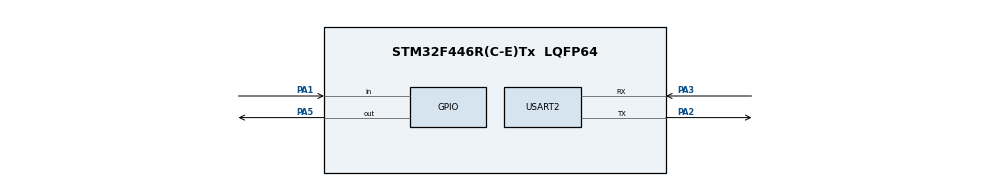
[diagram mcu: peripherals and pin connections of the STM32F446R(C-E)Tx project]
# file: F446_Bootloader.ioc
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Mcu.Family=STM32F4
Mcu.Name=STM32F446R(C-E)Tx
Mcu.Package=LQFP64
NVIC.PriorityGroup=NVIC_PRIORITYGROUP_4
PA1.GPIO_PuPd=GPIO_PULLUP
PA1.Signal=GPIO_Input
PA2.Mode=Asynchronous
PA2.Signal=USART2_TX
PA3.Mode=Asynchronous
PA3.Signal=USART2_RX
PA5.Signal=GPIO_Output
ProjectManager.HeapSize=0x200
ProjectManager.StackSize=0x400
ProjectManager.TargetToolchain=STM32CubeIDE
RCC.CortexFreq_Value=16000000
RCC.USBFreq_Value=96000000
RCC.VCOOutputFreq_Value=192000000
USART2.VirtualMode=VM_ASYNC
board=custom

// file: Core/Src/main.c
/* USER CODE BEGIN Header */
/**
  ******************************************************************************
  * @file           : main.c
  * @brief          : Main program body
  ******************************************************************************
  * @attention
  *
  * Copyright (c) 2025 STMicroelectronics.
  * All rights reserved.
  *
  * This software is licensed under terms that can be found in the LICENSE file
  * in the root directory of this software component.
  * If no LICENSE file comes with this software, it is provided AS-IS.
  *
  ******************************************************************************
  */
/* USER CODE END Header */
#include "main.h"

/* USER CODE BEGIN Includes */
#include "bl_jump.h"
#include <string.h>
#include "bl_ota.h"
#include "ota_image.h"
/* USER CODE END Includes */

UART_HandleTypeDef huart2;

void SystemClock_Config(void);
static void MX_GPIO_Init(void);
static void MX_USART2_UART_Init(void);

/* USER CODE BEGIN 0 */

static uint32_t mem_base = 0;  // used with external or dual flash
static uint32_t mem_cursor = 0;
static uint32_t ota_image_total_size = 16;  // expected OTA Header size

void ota_mem_set_total_size(uint32_t size)
{
    ota_image_total_size = size;
}

int ota_read_mem(uint8_t *buf, uint32_t len)
{
    if (mem_cursor + len > ota_image_total_size)
        return -1;

    memcpy(buf, &ota_image_bin[mem_base + mem_cursor], len);  // this function should be replaced accordingly

    mem_cursor += len;
    return 0;
}

/* USER CODE END 0 */

int main(void)
{

  /* MCU Configuration--------------------------------------------------------*/

  /* Reset of all peripherals, Initializes the Flash interface and the Systick. */
  HAL_Init();

  /* Configure the system clock */
  SystemClock_Config();

  /* Initialize all configured peripherals */
  MX_GPIO_Init();
  MX_USART2_UART_Init();
  /* USER CODE BEGIN 2 */

  HAL_Delay(100);

  HAL_UART_Transmit(&huart2, (uint8_t *)"Inside Bootloader!!\r\n", 21, 100);

  if (check_ota_request() == 0)
  {
	  HAL_UART_Transmit(&huart2, (uint8_t *)"Performing OTA...\n", 18, 100);

	  ota_stream_t stream =
	  {
	      .read = ota_read_mem,
	      .set_total_size = ota_mem_set_total_size
	  };

	  bl_ota_ctx_t ctx;
	 if (bl_ota_run(&ctx, &stream) != 0)
	 {
		 HAL_UART_Transmit(&huart2, (uint8_t *)"OTA Failed...\n", 14, 100);
		  while (1)
		  {
			  HAL_GPIO_TogglePin(GPIOA, GPIO_PIN_5);
			  HAL_Delay(250);
		  }
	 }
	 else {
		 HAL_UART_Transmit(&huart2, (uint8_t *)"OTA Flashed Successfully, Jumping to app...\n", 44, 100);
	 }

  }
  int err = bootloader_is_app_valid();
  if (err != 0)
  {
	  HAL_UART_Transmit(&huart2, (uint8_t *)"Failed to Jump!! ", 17, 100);
	  switch (err){
	  case 1:
		  HAL_UART_Transmit(&huart2, (uint8_t *)"MAGIC ERROR!!\r\n", 15, 100);
		  break;

	  case 2:
		  HAL_UART_Transmit(&huart2, (uint8_t *)"RESET ERROR!!\r\n", 15, 100);
		  break;

	  case 3:
		  HAL_UART_Transmit(&huart2, (uint8_t *)"SIZE ERROR!!\r\n", 14, 100);
		  break;

	  case 4:
		  HAL_UART_Transmit(&huart2, (uint8_t *)"CRC ERROR!!\r\n", 13, 100);
		  break;

	  default:
		  HAL_UART_Transmit(&huart2, (uint8_t *)"ERROR!!\r\n", 9, 100);
		  break;
	  }

	  while (1)
	  {
		  HAL_GPIO_TogglePin(GPIOA, GPIO_PIN_5);
		  HAL_Delay(100);
	  }
  }

  JumpToApplication();

  /* USER CODE END 2 */

  /* Infinite loop */
  while (1)
  {

  }
}

void SystemClock_Config(void)
{
  RCC_OscInitTypeDef RCC_OscInitStruct = {0};
  RCC_ClkInitTypeDef RCC_ClkInitStruct = {0};

  /** Configure the main internal regulator output voltage
  */
  __HAL_RCC_PWR_CLK_ENABLE();
  __HAL_PWR_VOLTAGESCALING_CONFIG(PWR_REGULATOR_VOLTAGE_SCALE3);

  /** Initializes the RCC Oscillators according to the specified parameters
  * in the RCC_OscInitTypeDef structure.
  */
  RCC_OscInitStruct.OscillatorType = RCC_OSCILLATORTYPE_HSI;
  RCC_OscInitStruct.HSIState = RCC_HSI_ON;
  RCC_OscInitStruct.HSICalibrationValue = RCC_HSICALIBRATION_DEFAULT;
  RCC_OscInitStruct.PLL.PLLState = RCC_PLL_NONE;
  if (HAL_RCC_OscConfig(&RCC_OscInitStruct) != HAL_OK)
  {
    Error_Handler();
  }

  /** Initializes the CPU, AHB and APB buses clocks
  */
  RCC_ClkInitStruct.ClockType = RCC_CLOCKTYPE_HCLK|RCC_CLOCKTYPE_SYSCLK
                              |RCC_CLOCKTYPE_PCLK1|RCC_CLOCKTYPE_PCLK2;
  RCC_ClkInitStruct.SYSCLKSource = RCC_SYSCLKSOURCE_HSI;
  RCC_ClkInitStruct.AHBCLKDivider = RCC_SYSCLK_DIV1;
  RCC_ClkInitStruct.APB1CLKDivider = RCC_HCLK_DIV1;
  RCC_ClkInitStruct.APB2CLKDivider = RCC_HCLK_DIV1;

  if (HAL_RCC_ClockConfig(&RCC_ClkInitStruct, FLASH_LATENCY_0) != HAL_OK)
  {
    Error_Handler();
  }
}

static void MX_USART2_UART_Init(void)
{

  huart2.Instance = USART2;
  huart2.Init.BaudRate = 115200;
  huart2.Init.WordLength = UART_WORDLENGTH_8B;
  huart2.Init.StopBits = UART_STOPBITS_1;
  huart2.Init.Parity = UART_PARITY_NONE;
  huart2.Init.Mode = UART_MODE_TX_RX;
  huart2.Init.HwFlowCtl = UART_HWCONTROL_NONE;
  huart2.Init.OverSampling = UART_OVERSAMPLING_16;
  if (HAL_UART_Init(&huart2) != HAL_OK)
  {
    Error_Handler();
  }

}

static void MX_GPIO_Init(void)
{
  GPIO_InitTypeDef GPIO_InitStruct = {0};

  /* GPIO Ports Clock Enable */
  __HAL_RCC_GPIOA_CLK_ENABLE();

  /*Configure GPIO pin Output Level */
  HAL_GPIO_WritePin(GPIOA, GPIO_PIN_5, GPIO_PIN_RESET);

  /*Configure GPIO pin : PA1 */
  GPIO_InitStruct.Pin = GPIO_PIN_1;
  GPIO_InitStruct.Mode = GPIO_MODE_INPUT;
  GPIO_InitStruct.Pull = GPIO_PULLUP;
  HAL_GPIO_Init(GPIOA, &GPIO_InitStruct);

  /*Configure GPIO pin : PA5 */
  GPIO_InitStruct.Pin = GPIO_PIN_5;
  GPIO_InitStruct.Mode = GPIO_MODE_OUTPUT_PP;
  GPIO_InitStruct.Pull = GPIO_NOPULL;
  GPIO_InitStruct.Speed = GPIO_SPEED_FREQ_LOW;
  HAL_GPIO_Init(GPIOA, &GPIO_InitStruct);

}

void Error_Handler(void)
{
  __disable_irq();
  while (1)
  {
  }
}
